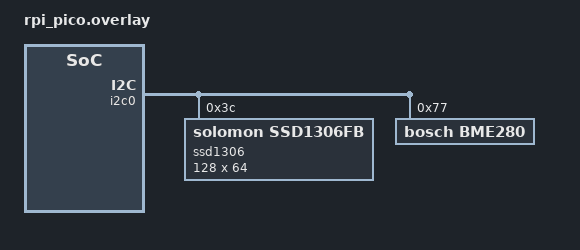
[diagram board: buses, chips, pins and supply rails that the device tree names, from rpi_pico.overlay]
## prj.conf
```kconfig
CONFIG_LOG=y
CONFIG_SENSOR=y
CONFIG_SENSOR_ASYNC_API=y
```

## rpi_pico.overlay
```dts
&i2c0 {
      ssd1306: ssd1306@3c {
      	       compatible = "solomon,ssd1306fb";
	       reg = <0x3c>;
	       height = <64>;
	       width = <128>;
	       segment-offset = <0>;
	       page-offset = <0>;
	       display-offset = <0>;
	       multiplex-ratio = <63>;
	       prechargep = <0x22>;
	       com-invdir;
	       segment-remap;
      };
      bme280: bme280@77 {
		compatible = "bosch,bme280";
		reg = <0x77>;
      };
};
```

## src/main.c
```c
//#include <stdio.h>
#include <zephyr/logging/log.h>
#include <zephyr/kernel.h>
#include <zephyr/device.h>
#include <zephyr/devicetree.h>
#include <zephyr/drivers/sensor.h>
#include <zephyr/drivers/sensor_data_types.h>
#include <zephyr/rtio/rtio.h>
#include <zephyr/dsp/print_format.h>

/* 1000 msec = 1 sec */
#define SLEEP_TIME_MS   1000

LOG_MODULE_REGISTER(foo,LOG_LEVEL_DBG);

static const struct device *dev = DEVICE_DT_GET(DT_NODELABEL(bme280));

SENSOR_DT_READ_IODEV(iodev, DT_NODELABEL(bme280),
		{SENSOR_CHAN_AMBIENT_TEMP, 0},
		{SENSOR_CHAN_HUMIDITY, 0},
		{SENSOR_CHAN_PRESS, 0});

RTIO_DEFINE(ctx, 1, 1);

int main(void)
{
	if (dev == NULL) {
		/* No such node, or the node does not have status "okay". */
		LOG_ERR("\nError: no device found.\n");
		return -1;
	}

	if (!device_is_ready(dev)) {
		LOG_ERR("\nError: Device \"%s\" is not ready; "
		       "check the driver initialization logs for errors.\n",
		       dev->name);
		return -1;
	}

	printk("Found device \"%s\", getting sensor data\n", dev->name);
	
	while (1) {
		
		uint8_t buf[128];

		int rc = sensor_read(&iodev, &ctx, buf, 128);

		if (rc != 0) {
			LOG_ERR("%s: sensor_read() failed: %d\n", dev->name, rc);
			return rc;
		}
		
		///
		
		const struct sensor_decoder_api *decoder;

		rc = sensor_get_decoder(dev, &decoder);

		if (rc != 0) {
			LOG_ERR("%s: sensor_get_decode() failed: %d\n", dev->name, rc);
			return rc;
		}

		uint32_t temp_fit = 0;
		struct sensor_q31_data temp_data = {0};

		decoder->decode(buf,
			(struct sensor_chan_spec) {SENSOR_CHAN_AMBIENT_TEMP, 0},
			&temp_fit, 1, &temp_data);

		uint32_t press_fit = 0;
		struct sensor_q31_data press_data = {0};

		decoder->decode(buf,
				(struct sensor_chan_spec) {SENSOR_CHAN_PRESS, 0},
				&press_fit, 1, &press_data);

		uint32_t hum_fit = 0;
		struct sensor_q31_data hum_data = {0};

		decoder->decode(buf,
				(struct sensor_chan_spec) {SENSOR_CHAN_HUMIDITY, 0},
				&hum_fit, 1, &hum_data);

		LOG_INF("temp: %s%d.%d; press: %s%d.%d; humidity: %s%d.%d\n",
			PRIq_arg(temp_data.readings[0].temperature, 6, temp_data.shift),
			PRIq_arg(press_data.readings[0].pressure, 6, press_data.shift),
			PRIq_arg(hum_data.readings[0].humidity, 6, hum_data.shift));
		
		///
		
		LOG_INF("Hello Log!");
		k_msleep(SLEEP_TIME_MS);
	}
	return 0;
}
```
